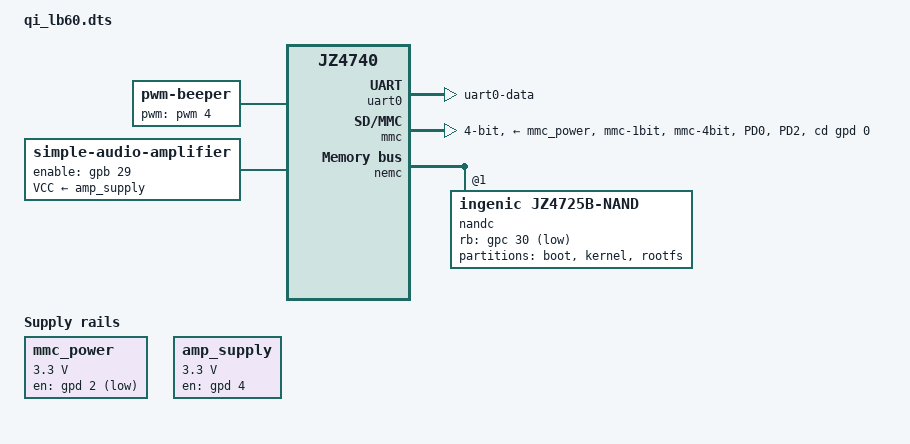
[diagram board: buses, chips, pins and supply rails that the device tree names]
// SPDX-License-Identifier: GPL-2.0
/dts-v1/;

#include "jz4740.dtsi"
#include <dt-bindings/gpio/gpio.h>

/ {
	compatible = "qi,lb60", "ingenic,jz4740";

	chosen {
		stdout-path = &uart0;
	};

	beeper {
		compatible = "pwm-beeper";
		pwms = <&pwm 4 0 0>;

		pinctrl-names = "default";
		pinctrl-0 = <&pins_pwm4>;
	};

	mmc_power: fixedregulator {
		compatible = "regulator-fixed";
		regulator-name = "mmc_vcc";
		gpio = <&gpd 2 0>;

		regulator-min-microvolt = <3300000>;
		regulator-max-microvolt = <3300000>;
	};

	amp_supply: fixedregulator-2 {
		compatible = "regulator-fixed";
		regulator-name = "amp_supply";
		enable-gpios = <&gpd 4 GPIO_ACTIVE_HIGH>;

		regulator-min-microvolt = <3300000>;
		regulator-max-microvolt = <3300000>;
	};

	amp: audio-amp {
		compatible = "simple-audio-amplifier";
		enable-gpios = <&gpb 29 GPIO_ACTIVE_HIGH>;
		VCC-supply = <&amp_supply>;
	};

	sound-card {
		compatible = "simple-audio-card";

		simple-audio-card,name = "lb60-audio";
		simple-audio-card,format = "i2s";

		simple-audio-card,widgets =
			"Speaker", "Speaker",
			"Microphone", "Mic";
		simple-audio-card,routing =
			"MIC", "Mic",
			"Speaker", "OUTL",
			"INL", "LOUT",
			"INL", "ROUT";

		simple-audio-card,aux-devs = <&amp>;

		simple-audio-card,bitclock-master = <&dai_codec>;
		simple-audio-card,frame-master = <&dai_codec>;

		dai_cpu: simple-audio-card,cpu {
			sound-dai = <&aic>;
		};

		dai_codec: simple-audio-card,codec {
			sound-dai = <&codec>;
		};
	};
};

&ext {
	clock-frequency = <12000000>;
};

&rtc_dev {
	system-power-controller;
};

&uart0 {
	pinctrl-names = "default";
	pinctrl-0 = <&pins_uart0>;
};

&pinctrl {
	pins_uart0: uart0 {
		function = "uart0";
		groups = "uart0-data";
		bias-disable;
	};

	pins_pwm4: pwm4 {
		function = "pwm4";
		groups = "pwm4";
		bias-disable;
	};

	pins_mmc: mmc {
		mmc {
			function = "mmc";
			groups = "mmc-1bit", "mmc-4bit";
			bias-disable;
		};

		mmc-gpios {
			pins = "PD0", "PD2";
			bias-disable;
		};
	};

	pins_nemc: nemc {
		function = "nand";
		groups = "nand-cs1";
	};
};

&tcu {
	/* 750 kHz for the system timer and clocksource */
	assigned-clocks = <&tcu TCU_CLK_TIMER0>, <&tcu TCU_CLK_TIMER1>;
	assigned-clock-rates = <750000>, <750000>;
};

&mmc {
	bus-width = <4>;
	max-frequency = <24000000>;
	cd-gpios = <&gpd 0 GPIO_ACTIVE_HIGH>;
	vmmc-supply = <&mmc_power>;

	pinctrl-names = "default";
	pinctrl-0 = <&pins_mmc>;
};

&nemc {
	nandc: nand-controller@1 {
		compatible = "ingenic,jz4725b-nand";
		reg = <1 0 0x4000000>;

		#address-cells = <1>;
		#size-cells = <0>;

		ingenic,bch-controller = <&bch>;

		pinctrl-names = "default";
		pinctrl-0 = <&pins_nemc>;

		rb-gpios = <&gpc 30 GPIO_ACTIVE_LOW>;

		nand@1 {
			reg = <1>;

			nand-ecc-step-size = <512>;
			nand-ecc-strength = <4>;
			nand-ecc-mode = "hw";
			nand-is-boot-medium;
			nand-on-flash-bbt;

			partitions {
				compatible = "fixed-partitions";
				#address-cells = <1>;
				#size-cells = <1>;

				partition@0 {
					label = "boot";
					reg = <0x0 0x400000>;
				};

				partition@400000 {
					label = "kernel";
					reg = <0x400000 0x400000>;
				};

				partition@800000 {
					label = "rootfs";
					reg = <0x800000 0x0>;
				};
			};
		};
	};
};
